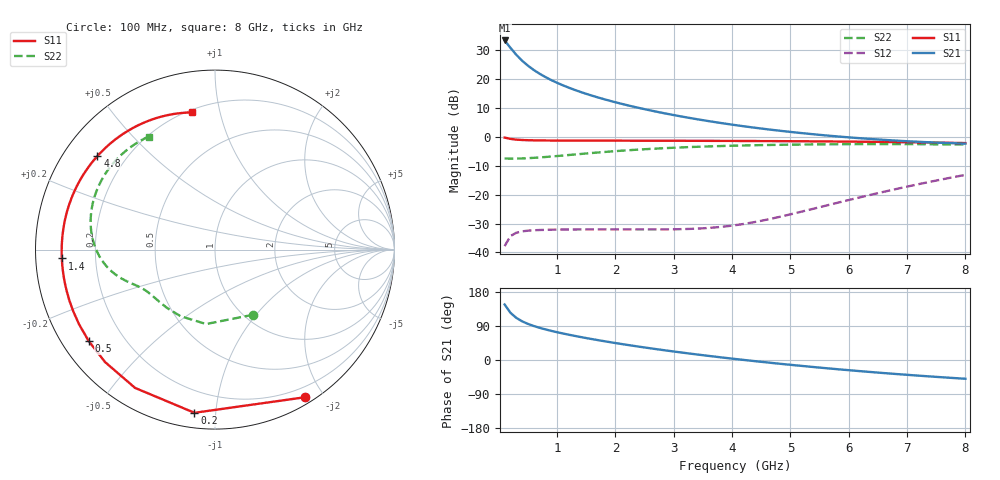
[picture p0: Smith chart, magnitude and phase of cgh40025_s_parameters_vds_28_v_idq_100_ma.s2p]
! AWR Design Environment (8345) Tue Sep 05 14:21:48 2017
! Document = 'SParameters'
! nPorts: 2, nXvals: 80
# HZ S DB R 50
!Freq DBS11 AngS11 DBS21 AngS21 DBS12 AngS12 DBS22 AngS22
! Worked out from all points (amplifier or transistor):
!   80 points, 100 MHz to 8 GHz, reference 50 ohm
!   highest |S21| = 33.2 dB at 100 MHz (marker M1)
!   |S21| within 3 dB of that: start of sweep to 219.4 MHz
!   unconditionally stable (mu >= 1): 3.364 GHz to 5.067 GHz
!   at 1.4 GHz: K = 0.36, MSG = 23.7 dB, |S12| = -32.0 dB
!   at 4.1 GHz: K = 1.13, MAG = 14.9 dB, |S12| = -30.4 dB
!   at 8 GHz: K = 0.66, MSG = 5.4 dB, |S12| = -13.2 dB
!   S11 on the Smith chart (normalised r, x): 100 MHz: 0.08, -1.78; 200 MHz: 0.08, -0.88; 500 MHz: 0.08, -0.32; 1.4 GHz: 0.08, -0.03; 4.8 GHz: 0.10, +0.35; 8 GHz: 0.22, +0.82
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1e8  -0.32 -58.6  33.24 146.5  -37.82 57.6  -7.52 -59.6
2e8  -0.76 -97.2  30.70 124.6  -34.33 36.8  -7.59 -96.8
3e8  -1.01 -120.0  28.29 111.2  -33.19 24.4  -7.58 -117.4
4e8  -1.15 -134.4  26.25 102.1  -32.71 16.4  -7.52 -129.4
5e8  -1.22 -144.1  24.52 95.3  -32.47 10.7  -7.43 -137.1
6e8  -1.27 -151.2  23.04 89.7  -32.33 6.3  -7.31 -142.2
7e8  -1.30 -156.6  21.74 85.0  -32.24 2.6  -7.17 -145.9
8e8  -1.32 -160.9  20.59 80.7  -32.18 -0.4  -7.02 -148.6
9e8  -1.33 -164.5  19.55 76.9  -32.14 -3.1  -6.86 -150.8
1.1e9  -1.35 -170.2  17.73 70.0  -32.08 -7.6  -6.51 -154.1
1.4e9  -1.36 -176.7  15.46 60.7  -32.03 -12.9  -5.98 -158.0
1.5e9  -1.37 -178.5  14.79 57.9  -32.02 -14.3  -5.81 -159.2
1.8e9  -1.37 176.6  12.97 49.8  -32.01 -17.8  -5.31 -162.6
2.1e9  -1.38 172.4  11.38 42.3  -32.02 -20.2  -4.85 -166.0
2.4e9  -1.39 168.6  9.94 35.3  -32.03 -21.3  -4.46 -169.5
2.8e9  -1.41 163.8  8.24 26.6  -32.03 -20.7  -4.01 -174.2
3.4e9  -1.43 157.0  6.03 14.6  -31.76 -15.0  -3.50 178.7
4.1e9  -1.48 149.3  3.87 1.9  -30.45 -2.7  -3.08 170.4
4.8e9  -1.54 141.5  2.09 -9.6  -27.76 8.9  -2.82 162.0
5.4e9  -1.62 134.5  0.82 -18.6  -24.86 14.3  -2.67 154.7
6.7e9  -1.84 118.3  -1.22 -35.6  -18.59 12.9  -2.57 138.4
8e9  -2.22 99.6  -2.40 -49.5  -13.20 1.1  -2.73 120.4
